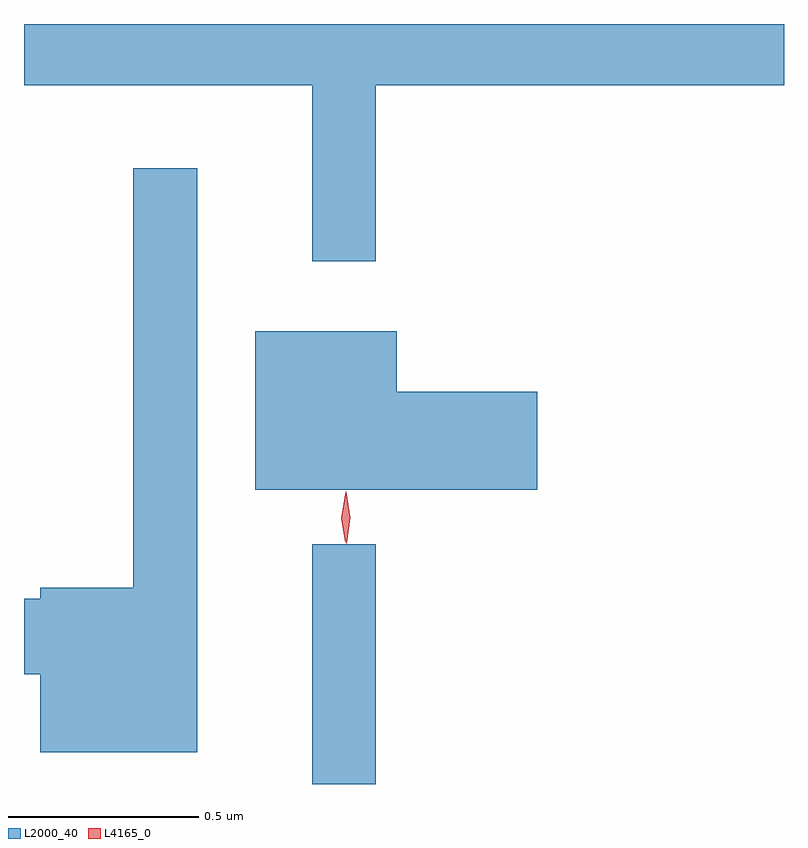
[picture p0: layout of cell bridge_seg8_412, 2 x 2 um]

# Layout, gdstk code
import gdstk
lib = gdstk.Library(unit=1e-6, precision=1e-09)
def R(c, l, rs):  # rectangles x0, y0, x1, y1
    for r in rs: c.add(gdstk.rectangle(r[:2], r[2:], *l))
def P(c, l, *ps):  # polygons
    for p in ps: c.add(gdstk.Polygon(p, *l))
L2000_40 = (2000, 40)
L4165_0 = (4165, 0)

bridge_seg8_412 = lib.new_cell('bridge_seg8_412')
R(bridge_seg8_412, L2000_40, [(697.381,1830.137,697.549,1830.768)])
P(bridge_seg8_412, L2000_40, [(697.549,1831.976),(698.623,1831.976),(698.623,1832.137),(696.623,1832.137),(696.623,1831.976),(697.381,1831.976),(697.381,1831.513),(697.549,1831.513)],
  [(697.079,1831.758),(696.911,1831.758),(696.911,1830.654),(696.666,1830.654),(696.666,1830.624),(696.623,1830.624),(696.623,1830.426),(696.666,1830.426),(696.666,1830.221),(697.079,1830.221)],
  [(697.974,1831.169),(697.604,1831.169),(697.604,1831.329),(697.231,1831.329),(697.231,1830.911),(697.974,1830.911)])
P(bridge_seg8_412, L4165_0, [(697.471,1830.77),(697.471,1830.77),(697.461,1830.838),(697.47,1830.906),(697.47,1830.906),(697.471,1830.906),(697.481,1830.838),(697.472,1830.77)],
  [(697.468,1830.773),(697.468,1830.773),(697.458,1830.836),(697.468,1830.899),(697.468,1830.9),(697.469,1830.899),(697.478,1830.836),(697.469,1830.773)])

lib.write_gds('bridge_seg8_412.gds')
